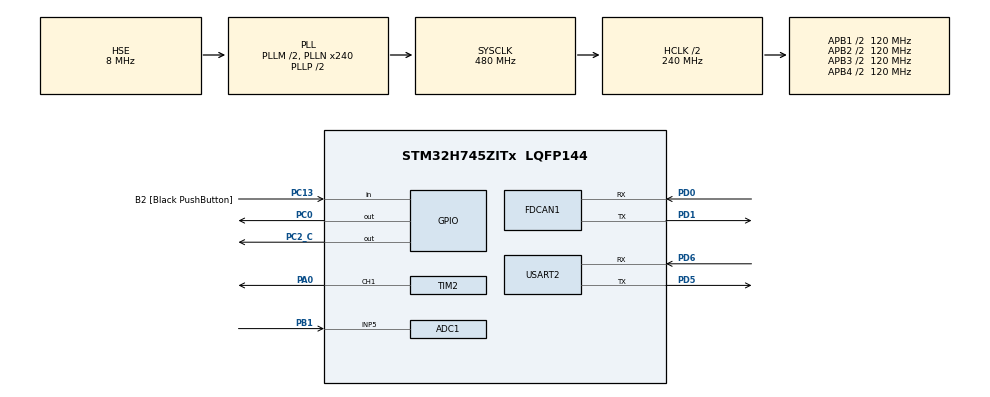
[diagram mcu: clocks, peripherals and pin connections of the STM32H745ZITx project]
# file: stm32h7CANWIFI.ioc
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ADC1.Channel-0\#ChannelRegularConversion=ADC_CHANNEL_5
ADC1.ClockPrescaler=ADC_CLOCK_SYNC_PCLK_DIV4
ADC1.NbrOfConversionFlag=1
ADC1.OffsetNumber-0\#ChannelRegularConversion=ADC_OFFSET_NONE
ADC1.OffsetSignedSaturation-0\#ChannelRegularConversion=DISABLE
ADC1.Rank-0\#ChannelRegularConversion=1
ADC1.SamplingTime-0\#ChannelRegularConversion=ADC_SAMPLETIME_1CYCLE_5
ADC1.master=1
CortexM4.IPs=BDMA,CORTEX_M4\:I,DEBUG,DMA,FATFS_M4\:I,FREERTOS_M4\:I,GPIO,IWDG2\:I,MDMA,NVIC2\:I,OPENAMP_M4\:I,PDM2PCM_M4\:I,PWR,RCC,RESMGR_UTILITY,SYS_M4\:I,USB_DEVICE_M4\:I,USB_HOST_M4\:I,VREFBUF,WWDG2\:I
CortexM7.IPs=BDMA\:I,CORTEX_M7\:I,DEBUG\:I,DMA\:I,FATFS_M7\:I,FREERTOS_M7\:I,GPIO\:I,IWDG1\:I,MDMA\:I,NVIC1\:I,OPENAMP_M7\:I,PDM2PCM_M7\:I,PWR\:I,RCC\:I,RESMGR_UTILITY\:I,SYS\:I,USB_DEVICE_M7\:I,USB_HOST_M7\:I,VREFBUF\:I,WWDG1\:I,USART2\:I,FDCAN1\:I,TIM2\:I,ADC1\:I
CortexM7.Pins=PC13,PC0
FDCAN1.CalculateBaudRateNominal=250000
FDCAN1.CalculateTimeBitNominal=4000
FDCAN1.CalculateTimeQuantumNominal=50.0
FDCAN1.NominalPrescaler=2
FDCAN1.NominalSyncJumpWidth=8
FDCAN1.NominalTimeSeg1=0x3F
FDCAN1.NominalTimeSeg2=16
FDCAN1.ProtocolException=ENABLE
FDCAN1.RxFifo0ElmtsNbr=1
FDCAN1.StdFiltersNbr=1
FDCAN1.TxFifoQueueElmtsNbr=1
Mcu.Family=STM32H7
Mcu.Name=STM32H745ZITx
Mcu.Package=LQFP144
NVIC1.PriorityGroup=NVIC_PRIORITYGROUP_4
NVIC2.PriorityGroup=NVIC_PRIORITYGROUP_4
PA0.PinAttribute=CortexM7
PA0.Signal=S_TIM2_CH1_ETR
PB1.PinAttribute=CortexM7
PB1.Signal=ADCx_INP5
PC0.GPIO_PuPd=GPIO_PULLDOWN
PC0.PinAttribute=CortexM7
PC0.Signal=GPIO_Output
PC13.GPIO_Label=B2 [Black PushButton]
PC13.PinAttribute=CortexM7
PC13.Signal=GPIO_Input
PC14-OSC32_IN\ (OSC32_IN).Mode=LSE-External-Oscillator
PC14-OSC32_IN\ (OSC32_IN).PinAttribute=CortexM7
PC14-OSC32_IN\ (OSC32_IN).Signal=RCC_OSC32_IN
PC15-OSC32_OUT\ (OSC32_OUT).Mode=LSE-External-Oscillator
PC15-OSC32_OUT\ (OSC32_OUT).PinAttribute=CortexM7
PC15-OSC32_OUT\ (OSC32_OUT).Signal=RCC_OSC32_OUT
PC2_C.PinAttribute=Free
PC2_C.Signal=GPIO_Output
PD0.Mode=FDCAN_Activate
PD0.PinAttribute=CortexM7
PD0.Signal=FDCAN1_RX
PD1.Mode=FDCAN_Activate
PD1.PinAttribute=CortexM7
PD1.Signal=FDCAN1_TX
PD5.Mode=Asynchronous
PD5.PinAttribute=CortexM7
PD5.Signal=USART2_TX
PD6.Mode=Asynchronous
PD6.PinAttribute=CortexM7
PD6.Signal=USART2_RX
PH0-OSC_IN\ (PH0).Mode=HSE-External-Clock-Source
PH0-OSC_IN\ (PH0).PinAttribute=CortexM7
PH0-OSC_IN\ (PH0).Signal=RCC_OSC_IN
ProjectManager.HeapSize=M4-0x200,M7-0x200
ProjectManager.StackSize=M4-0x400,M7-0x400
ProjectManager.TargetToolchain=STM32CubeIDE
RCC.ADCFreq_Value=16125000
RCC.APB1Freq_Value=120000000
RCC.APB2Freq_Value=120000000
RCC.APB3Freq_Value=120000000
RCC.APB4Freq_Value=120000000
RCC.CortexFreq_Value=480000000
RCC.D1PPRE=RCC_APB3_DIV2
RCC.D2PPRE1=RCC_APB1_DIV2
RCC.D2PPRE2=RCC_APB2_DIV2
RCC.D3PPRE=RCC_APB4_DIV2
RCC.DIVM1=2
RCC.DIVN1=240
RCC.DIVQ1=24
RCC.HCLKFreq_Value=240000000
RCC.HPRE=RCC_HCLK_DIV2
RCC.HSE_VALUE=8000000
RCC.PLLSourceVirtual=RCC_PLLSOURCE_HSE
RCC.SYSCLKFreq_VALUE=480000000
RCC.SYSCLKSource=RCC_SYSCLKSOURCE_PLLCLK
RCC.USBFreq_Value=40000000
SH.ADCx_INP5.0=ADC1_INP5,IN5-Single-Ended
SH.S_TIM2_CH1_ETR.0=TIM2_CH1,PWM Generation1 CH1
TIM2.AutoReloadPreload=TIM_AUTORELOAD_PRELOAD_ENABLE
TIM2.Channel-PWM\ Generation1\ CH1=TIM_CHANNEL_1
TIM2.Period=65535
USART2.Parity=PARITY_NONE
USART2.StopBits=STOPBITS_1
USART2.VirtualMode-Asynchronous=VM_ASYNC
board=custom

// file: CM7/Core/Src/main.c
/* USER CODE BEGIN Header */
/**
  **************************
  * @file           : main.c
  * @brief          : Main program body
  **************************
  * @attention
  *
  * Copyright (c) 2022 STMicroelectronics.
  * All rights reserved.
  *
  * This software is licensed under terms that can be found in the LICENSE file
  * in the root directory of this software component.
  * If no LICENSE file comes with this software, it is provided AS-IS.
  *
  **************************
  */
/* USER CODE END Header */
#include "main.h"

/* USER CODE BEGIN Includes */
#include <stdio.h>
/* USER CODE END Includes */

/* USER CODE BEGIN PD */

#ifndef HSEM_ID_0
#define HSEM_ID_0 (0U) /* HW semaphore 0*/
#endif
/* USER CODE END PD */

ADC_HandleTypeDef hadc1;

FDCAN_HandleTypeDef hfdcan1;

TIM_HandleTypeDef htim2;

UART_HandleTypeDef huart2;

/* USER CODE BEGIN PV */
FDCAN_FilterTypeDef sFilterConfig;
FDCAN_TxHeaderTypeDef TxHeader;
FDCAN_RxHeaderTypeDef RxHeader;
uint8_t TxData[8] = {0x00, 0x00, 0x00, 0x00, 0x00, 0x00, 0x00, 0x00};
uint8_t RxData[8];
int pressure =29;
int direction = 1;
double e=0.0,e_1=0.0,u=0.0,u_1=0.0;
double kp,ti,q0,q1;
int setPoint;
/* USER CODE END PV */

void SystemClock_Config(void);
static void MX_GPIO_Init(void);
static void MX_USART2_UART_Init(void);
static void MX_FDCAN1_Init(void);
static void MX_TIM2_Init(void);
static void MX_ADC1_Init(void);
/* USER CODE BEGIN PFP */
void PID_Initialize(void);
double PID_Discrete( double yM );
int _write( int file, char *ptr, int len ){
	int DataIdx;
	for (DataIdx = 0; DataIdx < len; DataIdx++){
		HAL_UART_Transmit(&huart2, ( uint8_t *)ptr++, 1, HAL_UART_TIMEOUT_VALUE);
	}
	return len;
}
/* USER CODE END PFP */

int main(void)
{
  /* USER CODE BEGIN 1 */
	uint16_t presionSensorRaw;
	double  presionSensorFinal;
	float Vin;

  /* USER CODE END 1 */
/* USER CODE BEGIN Boot_Mode_Sequence_0 */
  int32_t timeout;
/* USER CODE END Boot_Mode_Sequence_0 */

/* USER CODE BEGIN Boot_Mode_Sequence_1 */
  /* Wait until CPU2 boots and enters in stop mode or timeout*/
  timeout = 0xFFFF;
  while((__HAL_RCC_GET_FLAG(RCC_FLAG_D2CKRDY) != RESET) && (timeout-- > 0));
  if ( timeout < 0 )
  {
  Error_Handler();
  }
/* USER CODE END Boot_Mode_Sequence_1 */
  /* MCU Configuration--------------------------------------------------------*/

  /* Reset of all peripherals, Initializes the Flash interface and the Systick. */
  HAL_Init();

  /* Configure the system clock */
  SystemClock_Config();
/* USER CODE BEGIN Boot_Mode_Sequence_2 */
/* When system initialization is finished, Cortex-M7 will release Cortex-M4 by means of
HSEM notification */
/*HW semaphore Clock enable*/
__HAL_RCC_HSEM_CLK_ENABLE();
/*Take HSEM */
HAL_HSEM_FastTake(HSEM_ID_0);
/*Release HSEM in order to notify the CPU2(CM4)*/
HAL_HSEM_Release(HSEM_ID_0,0);
/* wait until CPU2 wakes up from stop mode */
timeout = 0xFFFF;
while((__HAL_RCC_GET_FLAG(RCC_FLAG_D2CKRDY) == RESET) && (timeout-- > 0));
if ( timeout < 0 )
{
Error_Handler();
}
/* USER CODE END Boot_Mode_Sequence_2 */

  /* Initialize all configured peripherals */
  MX_GPIO_Init();
  MX_USART2_UART_Init();
  MX_FDCAN1_Init();
  MX_TIM2_Init();
  MX_ADC1_Init();
  HAL_TIM_PWM_Start(&htim2, TIM_CHANNEL_1);
  /* USER CODE BEGIN 2 */
  PID_Initialize();
  /* USER CODE END 2 */

  /* Infinite loop */
  /* USER CODE BEGIN WHILE */
  //TIM2->CCR1 = 65535;
  printf("Hello STM32H7 CAN World!\r\n");
  //TIM2->CCR1 = 65535;
  //int timesamp = 0;
  int PID_Value;
  int PID_Final;
  int PresionInt;
    while(1){
    	//Receive Data
    	if(HAL_FDCAN_GetRxMessage(&hfdcan1, FDCAN_RX_FIFO0, &RxHeader, RxData) == HAL_OK){
    		//printf("Ya pase\r\n");
    setPoint = RxData[7];
    //printf( "%d", RxData[7]);
   // printf(" PSI");
    printf("\r\n SetPoint = %d PSI", setPoint);
    printf("\r\n Mensaje recibido correctamente\r\n");

    //Sensor
    HAL_ADC_Start(&hadc1);
    HAL_ADC_PollForConversion(&hadc1, HAL_MAX_DELAY);
    presionSensorRaw = HAL_ADC_GetValue(&hadc1);
    Vin = 3.3 * (presionSensorRaw/65535.0);
    presionSensorFinal = ((Vin-0.538) * 35);
    //printf("%d, ", timesamp);
    //printf(" Pressure Sensor Value: %f PSI\r\n", presionSensorFinal);
    //printf("%f V\r\n", Vin);
    PresionInt = presionSensorFinal;

    if(PresionInt < setPoint-1){
    	PID_Value = PID_Discrete(presionSensorFinal);
    	PID_Final = PID_Value * 5461.25;
    	//PID_Final = (PID_Value*4.5)/100;
    	printf(" Valor PWM: %d\r\n", PID_Final);
    	TIM2->CCR1 = PID_Final;//(PID_Final*65535)/3.3;
    }
    if(PresionInt>=(setPoint)){
    	TIM2->CCR1 = 0;
    	if(PresionInt > setPoint){
    		HAL_GPIO_WritePin(GPIOC, GPIO_PIN_0, GPIO_PIN_RESET);// Abre valvula en NO
    		HAL_Delay(100);
    		HAL_GPIO_WritePin(GPIOC, GPIO_PIN_0, GPIO_PIN_SET); //Cierra valvula en NO
    	}
    }else{
    	HAL_GPIO_WritePin(GPIOC, GPIO_PIN_0, GPIO_PIN_SET); //Cierra valvula en NO
    }

    //Send Data
    TxData[7] = presionSensorFinal; //Dato que se transmite
    printf(" Pressure Sensor Value: %d \r\n", TxData[7]);
    HAL_FDCAN_AddMessageToTxFifoQ(&hfdcan1, &TxHeader, TxData);
    printf(" Mensaje enviado correctamente\r\n");
    printf("---------------------");

    HAL_Delay(10);

    	}

    }
    /* USER CODE END WHILE */

}

void SystemClock_Config(void)
{
  RCC_OscInitTypeDef RCC_OscInitStruct = {0};
  RCC_ClkInitTypeDef RCC_ClkInitStruct = {0};

  /** Supply configuration update enable
  */
  HAL_PWREx_ConfigSupply(PWR_DIRECT_SMPS_SUPPLY);

  /** Configure the main internal regulator output voltage
  */
  __HAL_PWR_VOLTAGESCALING_CONFIG(PWR_REGULATOR_VOLTAGE_SCALE0);

  while(!__HAL_PWR_GET_FLAG(PWR_FLAG_VOSRDY)) {}

  /** Initializes the RCC Oscillators according to the specified parameters
  * in the RCC_OscInitTypeDef structure.
  */
  RCC_OscInitStruct.OscillatorType = RCC_OSCILLATORTYPE_HSE;
  RCC_OscInitStruct.HSEState = RCC_HSE_BYPASS;
  RCC_OscInitStruct.PLL.PLLState = RCC_PLL_ON;
  RCC_OscInitStruct.PLL.PLLSource = RCC_PLLSOURCE_HSE;
  RCC_OscInitStruct.PLL.PLLM = 2;
  RCC_OscInitStruct.PLL.PLLN = 240;
  RCC_OscInitStruct.PLL.PLLP = 2;
  RCC_OscInitStruct.PLL.PLLQ = 24;
  RCC_OscInitStruct.PLL.PLLR = 2;
  RCC_OscInitStruct.PLL.PLLRGE = RCC_PLL1VCIRANGE_2;
  RCC_OscInitStruct.PLL.PLLVCOSEL = RCC_PLL1VCOWIDE;
  RCC_OscInitStruct.PLL.PLLFRACN = 0;
  if (HAL_RCC_OscConfig(&RCC_OscInitStruct) != HAL_OK)
  {
    Error_Handler();
  }

  /** Initializes the CPU, AHB and APB buses clocks
  */
  RCC_ClkInitStruct.ClockType = RCC_CLOCKTYPE_HCLK|RCC_CLOCKTYPE_SYSCLK
                              |RCC_CLOCKTYPE_PCLK1|RCC_CLOCKTYPE_PCLK2
                              |RCC_CLOCKTYPE_D3PCLK1|RCC_CLOCKTYPE_D1PCLK1;
  RCC_ClkInitStruct.SYSCLKSource = RCC_SYSCLKSOURCE_PLLCLK;
  RCC_ClkInitStruct.SYSCLKDivider = RCC_SYSCLK_DIV1;
  RCC_ClkInitStruct.AHBCLKDivider = RCC_HCLK_DIV2;
  RCC_ClkInitStruct.APB3CLKDivider = RCC_APB3_DIV2;
  RCC_ClkInitStruct.APB1CLKDivider = RCC_APB1_DIV2;
  RCC_ClkInitStruct.APB2CLKDivider = RCC_APB2_DIV2;
  RCC_ClkInitStruct.APB4CLKDivider = RCC_APB4_DIV2;

  if (HAL_RCC_ClockConfig(&RCC_ClkInitStruct, FLASH_LATENCY_4) != HAL_OK)
  {
    Error_Handler();
  }
}

static void MX_ADC1_Init(void)
{

  ADC_MultiModeTypeDef multimode = {0};
  ADC_ChannelConfTypeDef sConfig = {0};

  /** Common config
  */
  hadc1.Instance = ADC1;
  hadc1.Init.ClockPrescaler = ADC_CLOCK_SYNC_PCLK_DIV4;
  hadc1.Init.Resolution = ADC_RESOLUTION_16B;
  hadc1.Init.ScanConvMode = ADC_SCAN_DISABLE;
  hadc1.Init.EOCSelection = ADC_EOC_SINGLE_CONV;
  hadc1.Init.LowPowerAutoWait = DISABLE;
  hadc1.Init.ContinuousConvMode = DISABLE;
  hadc1.Init.NbrOfConversion = 1;
  hadc1.Init.DiscontinuousConvMode = DISABLE;
  hadc1.Init.ExternalTrigConv = ADC_SOFTWARE_START;
  hadc1.Init.ExternalTrigConvEdge = ADC_EXTERNALTRIGCONVEDGE_NONE;
  hadc1.Init.ConversionDataManagement = ADC_CONVERSIONDATA_DR;
  hadc1.Init.Overrun = ADC_OVR_DATA_PRESERVED;
  hadc1.Init.LeftBitShift = ADC_LEFTBITSHIFT_NONE;
  hadc1.Init.OversamplingMode = DISABLE;
  if (HAL_ADC_Init(&hadc1) != HAL_OK)
  {
    Error_Handler();
  }

  /** Configure the ADC multi-mode
  */
  multimode.Mode = ADC_MODE_INDEPENDENT;
  if (HAL_ADCEx_MultiModeConfigChannel(&hadc1, &multimode) != HAL_OK)
  {
    Error_Handler();
  }

  /** Configure Regular Channel
  */
  sConfig.Channel = ADC_CHANNEL_5;
  sConfig.Rank = ADC_REGULAR_RANK_1;
  sConfig.SamplingTime = ADC_SAMPLETIME_1CYCLE_5;
  sConfig.SingleDiff = ADC_SINGLE_ENDED;
  sConfig.OffsetNumber = ADC_OFFSET_NONE;
  sConfig.Offset = 0;
  sConfig.OffsetSignedSaturation = DISABLE;
  if (HAL_ADC_ConfigChannel(&hadc1, &sConfig) != HAL_OK)
  {
    Error_Handler();
  }

}

static void MX_FDCAN1_Init(void)
{

  hfdcan1.Instance = FDCAN1;
  hfdcan1.Init.FrameFormat = FDCAN_FRAME_CLASSIC;
  hfdcan1.Init.Mode = FDCAN_MODE_NORMAL;
  hfdcan1.Init.AutoRetransmission = DISABLE;
  hfdcan1.Init.TransmitPause = DISABLE;
  hfdcan1.Init.ProtocolException = ENABLE;
  hfdcan1.Init.NominalPrescaler = 2;
  hfdcan1.Init.NominalSyncJumpWidth = 8;
  hfdcan1.Init.NominalTimeSeg1 = 0x3F;
  hfdcan1.Init.NominalTimeSeg2 = 16;
  hfdcan1.Init.DataPrescaler = 1;
  hfdcan1.Init.DataSyncJumpWidth = 1;
  hfdcan1.Init.DataTimeSeg1 = 1;
  hfdcan1.Init.DataTimeSeg2 = 1;
  hfdcan1.Init.MessageRAMOffset = 0;
  hfdcan1.Init.StdFiltersNbr = 1;
  hfdcan1.Init.ExtFiltersNbr = 0;
  hfdcan1.Init.RxFifo0ElmtsNbr = 1;
  hfdcan1.Init.RxFifo0ElmtSize = FDCAN_DATA_BYTES_8;
  hfdcan1.Init.RxFifo1ElmtsNbr = 0;
  hfdcan1.Init.RxFifo1ElmtSize = FDCAN_DATA_BYTES_8;
  hfdcan1.Init.RxBuffersNbr = 0;
  hfdcan1.Init.RxBufferSize = FDCAN_DATA_BYTES_8;
  hfdcan1.Init.TxEventsNbr = 0;
  hfdcan1.Init.TxBuffersNbr = 0;
  hfdcan1.Init.TxFifoQueueElmtsNbr = 1;
  hfdcan1.Init.TxFifoQueueMode = FDCAN_TX_FIFO_OPERATION;
  hfdcan1.Init.TxElmtSize = FDCAN_DATA_BYTES_8;
  if (HAL_FDCAN_Init(&hfdcan1) != HAL_OK)
  {
    Error_Handler();
  }
  /* USER CODE BEGIN FDCAN1_Init 2 */
  /* Configure Rx filter */
    sFilterConfig.IdType = FDCAN_STANDARD_ID;
    sFilterConfig.FilterIndex = 0;
    sFilterConfig.FilterType = FDCAN_FILTER_MASK;
    sFilterConfig.FilterConfig = FDCAN_FILTER_TO_RXFIFO0;
    //sFilterConfig.FilterID1 = ; //This is the Filter
    //sFilterConfig.FilterID2 = ; //This is the Mask

     /* Configure global filter to reject all non-matching frames */
     //HAL_FDCAN_ConfigGlobalFilter(&hfdcan1, FDCAN_REJECT, FDCAN_REJECT, FDCAN_REJECT_REMOTE, FDCAN_REJECT_REMOTE);

    if (HAL_FDCAN_ConfigFilter(&hfdcan1, &sFilterConfig) != HAL_OK)
    {
  	  /* Filter configuration Error */
        Error_Handler();
    }
    /* Start the FDCAN module */
    if (HAL_FDCAN_Start(&hfdcan1) != HAL_OK)
    {
  	  /* Start Error */
    }

    if (HAL_FDCAN_ActivateNotification(&hfdcan1, FDCAN_IT_RX_FIFO0_NEW_MESSAGE, 0) != HAL_OK)
    {
  	  /* Notification Error */
    }

    /* Configure Tx buffer message */
    TxHeader.Identifier = 0x18F00422;
    TxHeader.IdType = FDCAN_EXTENDED_ID;
    TxHeader.TxFrameType = FDCAN_DATA_FRAME;
    TxHeader.DataLength = FDCAN_DLC_BYTES_8;
    TxHeader.ErrorStateIndicator = FDCAN_ESI_ACTIVE;
    TxHeader.BitRateSwitch = FDCAN_BRS_ON;
    TxHeader.FDFormat = FDCAN_FD_CAN;
    TxHeader.TxEventFifoControl = FDCAN_NO_TX_EVENTS;
    TxHeader.MessageMarker = 0x00;

  /* USER CODE END FDCAN1_Init 2 */

}

static void MX_TIM2_Init(void)
{

  TIM_MasterConfigTypeDef sMasterConfig = {0};
  TIM_OC_InitTypeDef sConfigOC = {0};

  htim2.Instance = TIM2;
  htim2.Init.Prescaler = 0;
  htim2.Init.CounterMode = TIM_COUNTERMODE_UP;
  htim2.Init.Period = 65535;
  htim2.Init.ClockDivision = TIM_CLOCKDIVISION_DIV1;
  htim2.Init.AutoReloadPreload = TIM_AUTORELOAD_PRELOAD_ENABLE;
  if (HAL_TIM_PWM_Init(&htim2) != HAL_OK)
  {
    Error_Handler();
  }
  sMasterConfig.MasterOutputTrigger = TIM_TRGO_RESET;
  sMasterConfig.MasterSlaveMode = TIM_MASTERSLAVEMODE_DISABLE;
  if (HAL_TIMEx_MasterConfigSynchronization(&htim2, &sMasterConfig) != HAL_OK)
  {
    Error_Handler();
  }
  sConfigOC.OCMode = TIM_OCMODE_PWM1;
  sConfigOC.Pulse = 0;
  sConfigOC.OCPolarity = TIM_OCPOLARITY_HIGH;
  sConfigOC.OCFastMode = TIM_OCFAST_DISABLE;
  if (HAL_TIM_PWM_ConfigChannel(&htim2, &sConfigOC, TIM_CHANNEL_1) != HAL_OK)
  {
    Error_Handler();
  }
  HAL_TIM_MspPostInit(&htim2);

}

static void MX_USART2_UART_Init(void)
{

  huart2.Instance = USART2;
  huart2.Init.BaudRate = 115200;
  huart2.Init.WordLength = UART_WORDLENGTH_8B;
  huart2.Init.StopBits = UART_STOPBITS_1;
  huart2.Init.Parity = UART_PARITY_NONE;
  huart2.Init.Mode = UART_MODE_TX_RX;
  huart2.Init.HwFlowCtl = UART_HWCONTROL_NONE;
  huart2.Init.OverSampling = UART_OVERSAMPLING_16;
  huart2.Init.OneBitSampling = UART_ONE_BIT_SAMPLE_DISABLE;
  huart2.Init.ClockPrescaler = UART_PRESCALER_DIV1;
  huart2.AdvancedInit.AdvFeatureInit = UART_ADVFEATURE_NO_INIT;
  if (HAL_UART_Init(&huart2) != HAL_OK)
  {
    Error_Handler();
  }
  if (HAL_UARTEx_SetTxFifoThreshold(&huart2, UART_TXFIFO_THRESHOLD_1_8) != HAL_OK)
  {
    Error_Handler();
  }
  if (HAL_UARTEx_SetRxFifoThreshold(&huart2, UART_RXFIFO_THRESHOLD_1_8) != HAL_OK)
  {
    Error_Handler();
  }
  if (HAL_UARTEx_DisableFifoMode(&huart2) != HAL_OK)
  {
    Error_Handler();
  }

}

static void MX_GPIO_Init(void)
{
  GPIO_InitTypeDef GPIO_InitStruct = {0};

  /* GPIO Ports Clock Enable */
  __HAL_RCC_GPIOC_CLK_ENABLE();
  __HAL_RCC_GPIOH_CLK_ENABLE();
  __HAL_RCC_GPIOA_CLK_ENABLE();
  __HAL_RCC_GPIOB_CLK_ENABLE();
  __HAL_RCC_GPIOD_CLK_ENABLE();

  /*Configure GPIO pin Output Level */
  HAL_GPIO_WritePin(GPIOC, GPIO_PIN_0, GPIO_PIN_RESET);

  /*Configure GPIO pin : B2_Pin */
  GPIO_InitStruct.Pin = B2_Pin;
  GPIO_InitStruct.Mode = GPIO_MODE_INPUT;
  GPIO_InitStruct.Pull = GPIO_NOPULL;
  HAL_GPIO_Init(B2_GPIO_Port, &GPIO_InitStruct);

  /*Configure GPIO pin : PC0 */
  GPIO_InitStruct.Pin = GPIO_PIN_0;
  GPIO_InitStruct.Mode = GPIO_MODE_OUTPUT_PP;
  GPIO_InitStruct.Pull = GPIO_PULLDOWN;
  GPIO_InitStruct.Speed = GPIO_SPEED_FREQ_LOW;
  HAL_GPIO_Init(GPIOC, &GPIO_InitStruct);

}

/* USER CODE BEGIN 4 */
void PID_Initialize( void ){
    double T = 0.1;//			sample rate
    //Complete here with the identified parameters of the plant
    //double k = __;
    //double tao = __;
    //double theta = __;

    //Calculate the coefficients for the discrete PID controller
    kp = 12.212;//6.212; //(0.9 * tao) / (k * theta)
    ti = 1.502; //3.33 * theta, 3.702
    q0 = kp + ((kp * T)/(2.0 * ti));
    q1 = ((kp * T)/(2.0 * ti)) - kp;
}

double PID_Discrete( double yM  ){
    double R = setPoint;//			set-point

    e = R - yM;//				calculate the error
    u = u_1 + q0*e + q1*e_1;//	discrete PID controller
    //u = kp*e;
    printf(" Error: %f\r\n", e);
    printf(" Salida PID %f\r\n", u);
    //Saturate the controller with upper and lower limits
    if(u >= 12)// 			maximum pressure value
        u = 12;
    if(u <= 0)//			minimum pressure value
        u = 0;
    //Update the values for the next iteration
    e_1 = e;
    u_1 = u;

    return u;
}

/* USER CODE END 4 */

void Error_Handler(void)
{
  __disable_irq();
  while (1)
  {
  }
}
